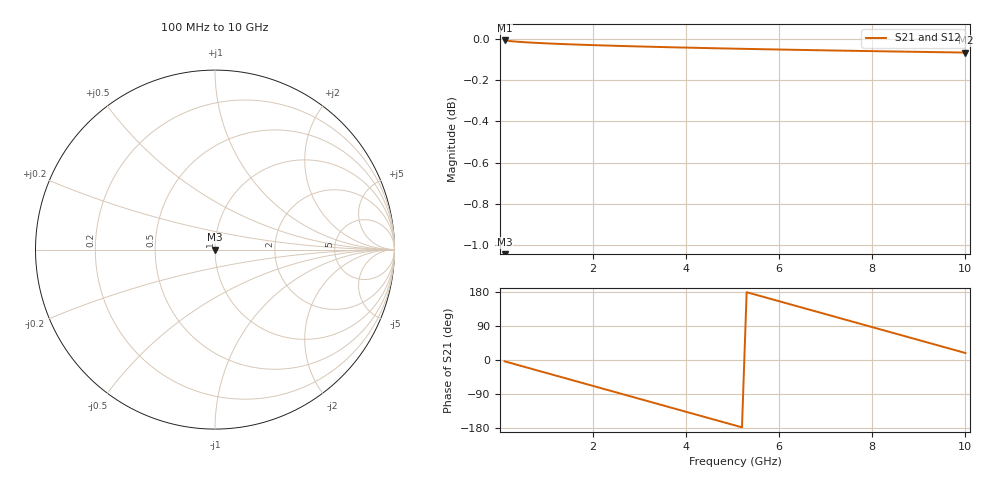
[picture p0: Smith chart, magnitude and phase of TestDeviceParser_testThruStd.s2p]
! File created by SignalIntegrity v1.1.13: Signal and Power Integrity Tools
! https://github.com/TeledyneLeCroy/SignalIntegrity
# MHz S MA R 50.0
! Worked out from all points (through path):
!   100 points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, 100 MHz to 10 GHz, reference 50 ohm
!   highest |S21| = -0.01 dB at 100 MHz (marker M1); lowest = -0.1 dB at 10 GHz (marker M2)
!   group delay of S21, straight-line fit = 94.8 ps
!   lowest |S11| = - dB at 100 MHz (marker M3), VSWR 1.00, Z = 50 + j0 ohm
!   |S11| at or under -10 dB: start of sweep to end of sweep
!   |S22| runs from - to - dB; largest |S21 - S12| = 0
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100  0 0.0  0.9993 -3.5  0.9993 -3.5  0 0.0
500  0 0.0  0.9983 -17.2  0.9983 -17.2  0 0.0
900  0 0.0  0.9978 -30.8  0.9978 -30.8  0 0.0
1800  0 0.0  0.9968 -61.6  0.9968 -61.6  0 0.0
2200  0 0.0  0.9965 -75.2  0.9965 -75.2  0 0.0
2600  0 0.0  0.9962 -88.9  0.9962 -88.9  0 0.0
3000  0 0.0  0.9959 -102.6  0.9959 -102.6  0 0.0
3400  0 0.0  0.9956 -116.2  0.9956 -116.2  0 0.0
3800  0 0.0  0.9954 -129.9  0.9954 -129.9  0 0.0
4300  0 0.0  0.9951 -147.0  0.9951 -147.0  0 0.0
4700  0 0.0  0.9949 -160.6  0.9949 -160.6  0 0.0
5100  0 0.0  0.9947 -174.3  0.9947 -174.3  0 0.0
5500  0 0.0  0.9944 172.1  0.9944 172.1  0 0.0
5900  0 0.0  0.9942 158.4  0.9942 158.4  0 0.0
6700  0 0.0  0.9939 131.1  0.9939 131.1  0 0.0
7200  0 0.0  0.9936 114.0  0.9936 114.0  0 0.0
7600  0 0.0  0.9935 100.4  0.9935 100.4  0 0.0
8000  0 0.0  0.9933 86.7  0.9933 86.7  0 0.0
8400  0 0.0  0.9931 73.1  0.9931 73.1  0 0.0
9100  0 0.0  0.9929 49.2  0.9929 49.2  0 0.0
9600  0 0.0  0.9927 32.1  0.9927 32.1  0 0.0
10000  0 0.0  0.9925 18.5  0.9925 18.5  0 0.0
